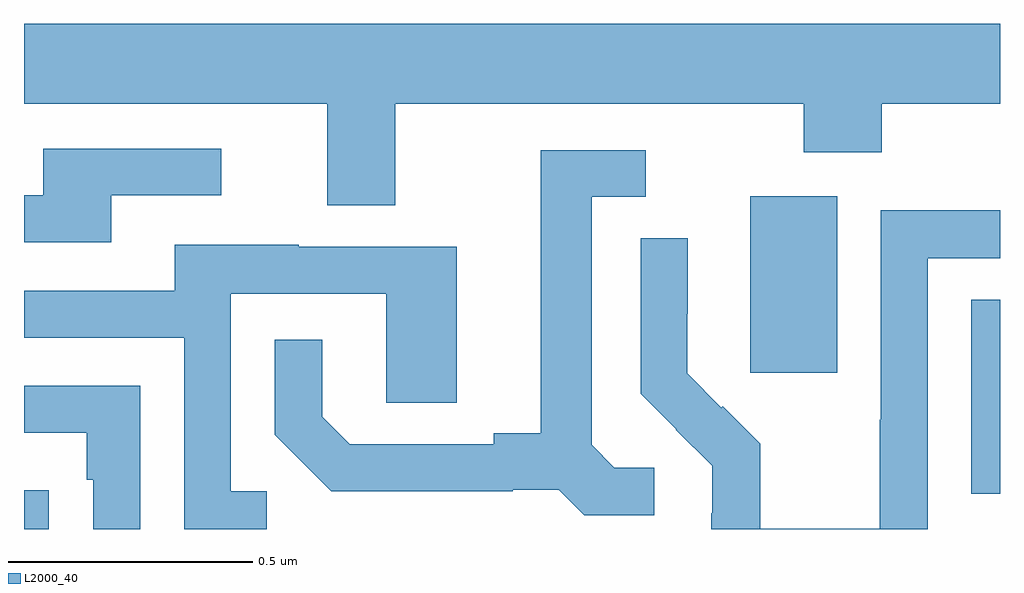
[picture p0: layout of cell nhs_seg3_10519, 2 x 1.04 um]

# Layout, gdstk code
import gdstk
lib = gdstk.Library(unit=1e-6, precision=1e-09)
def R(c, l, rs):  # rectangles x0, y0, x1, y1
    for r in rs: c.add(gdstk.rectangle(r[:2], r[2:], *l))
def P(c, l, *ps):  # polygons
    for p in ps: c.add(gdstk.Polygon(p, *l))
L2000_40 = (2000, 40)

nhs_seg3_10519 = lib.new_cell('nhs_seg3_10519')
R(nhs_seg3_10519, L2000_40, [(242,677.4,242.051,677.48), (243.941,677.473,244,677.87), (243.488,677.721,243.667,678.082)])
P(nhs_seg3_10519, L2000_40, [(242.761,678.272),(243.598,678.272),(243.598,678.173),(243.758,678.173),(243.758,678.272),(244,678.272),(244,678.436),(242,678.436),(242,678.272),(242.621,678.272),(242.621,678.064),(242.761,678.064)],
  [(242.179,678.084),(242.404,678.084),(242.404,678.18),(242.039,678.18),(242.039,678.084),(242,678.084),(242,677.988),(242.179,677.988)],
  [(243.292,677.526),(243.21,677.526),(243.163,677.573),(243.163,678.081),(243.274,678.081),(243.274,678.177),(243.059,678.177),(243.059,677.597),(242.963,677.597),(242.963,677.574),(242.668,677.574),(242.611,677.631),(242.611,677.788),(242.514,677.788),(242.514,677.594),(242.63,677.478),(243.002,677.478),(243.002,677.481),(243.096,677.481),(243.148,677.429),(243.292,677.429)],
  [(243.852,677.955),(244,677.955),(244,678.054),(243.756,678.054),(243.756,677.624),(243.754,677.624),(243.754,677.401),(243.509,677.401),(243.509,677.575),(243.432,677.652),(243.429,677.649),(243.359,677.72),(243.359,677.842),(243.36,677.842),(243.36,677.996),(243.264,677.996),(243.264,677.678),(243.337,677.605),(243.336,677.604),(243.41,677.53),(243.41,677.433),(243.408,677.433),(243.408,677.4),(243.852,677.4)],
  [(242.497,677.478),(242.424,677.478),(242.424,677.883),(242.742,677.883),(242.742,677.659),(242.887,677.659),(242.887,677.979),(242.563,677.979),(242.563,677.983),(242.309,677.983),(242.309,677.889),(242,677.889),(242,677.793),(242.328,677.793),(242.328,677.4),(242.497,677.4)],
  [(242.238,677.694),(242,677.694),(242,677.598),(242.129,677.598),(242.129,677.501),(242.142,677.501),(242.142,677.4),(242.238,677.4)])

lib.write_gds('nhs_seg3_10519.gds')
